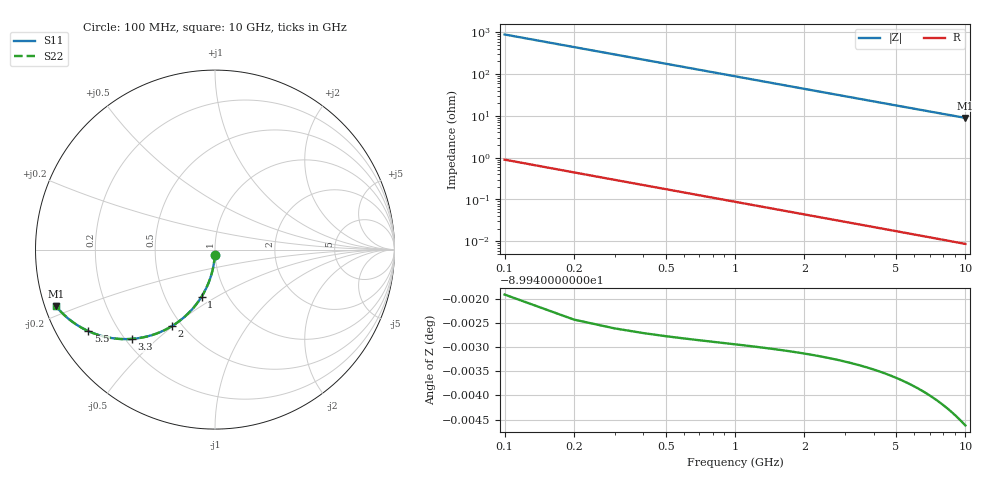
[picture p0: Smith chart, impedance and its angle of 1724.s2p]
# Hz S RI R 50.00
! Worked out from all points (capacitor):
!   100 points, 100 MHz to 10 GHz, reference 50 ohm
!   read as one part in shunt: C = 1.8 pF near 100 MHz
!   lowest |Z| = 8.94 ohm at 10 GHz (marker M1)
!   S11 on the Smith chart (normalised r, x): 100 MHz: 1.00, -0.06; 1 GHz: 0.76, -0.43; 2 GHz: 0.44, -0.50; 3.3 GHz: 0.22, -0.42; 5.5 GHz: 0.09, -0.29; 10 GHz: 0.03, -0.17
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1e8  -0.000815 -0.0282  0.9992 -0.0283  0.9992 -0.0283  -0.000815 -0.0282
2e8  -0.00323 -0.0563  0.9967 -0.0564  0.9967 -0.0564  -0.00323 -0.0563
3e8  -0.00721 -0.0841  0.9928 -0.0842  0.9928 -0.0842  -0.00721 -0.0841
4e8  -0.0127 -0.1115  0.9873 -0.1117  0.9873 -0.1117  -0.0127 -0.1115
5e8  -0.0197 -0.1384  0.9803 -0.1386  0.9803 -0.1386  -0.0197 -0.1384
6e8  -0.0281 -0.1646  0.9719 -0.1649  0.9719 -0.1649  -0.0281 -0.1646
7e8  -0.0378 -0.1901  0.9622 -0.1904  0.9622 -0.1904  -0.0378 -0.1901
8e8  -0.0488 -0.2148  0.9512 -0.2151  0.9512 -0.2151  -0.0488 -0.2148
1e9  -0.0741 -0.2613  0.9258 -0.2617  0.9258 -0.2617  -0.0741 -0.2613
1.2e9  -0.1033 -0.3036  0.8967 -0.3041  0.8967 -0.3041  -0.1033 -0.3036
1.4e9  -0.1355 -0.3415  0.8645 -0.3421  0.8645 -0.3421  -0.1355 -0.3415
1.8e9  -0.2056 -0.4033  0.7944 -0.404  0.7944 -0.404  -0.2056 -0.4033
2e9  -0.2421 -0.4274  0.7579 -0.4283  0.7579 -0.4283  -0.2421 -0.4274
2.6e9  -0.3503 -0.476  0.6497 -0.4771  0.6497 -0.4771  -0.3503 -0.476
3.3e9  -0.4644 -0.4975  0.5355 -0.4989  0.5355 -0.4989  -0.4644 -0.4975
3.4e9  -0.4793 -0.4984  0.5207 -0.4998  0.5207 -0.4998  -0.4793 -0.4984
4.2e9  -0.5838 -0.4916  0.4162 -0.4933  0.4162 -0.4933  -0.5838 -0.4916
5.1e9  -0.6737 -0.4673  0.3263 -0.4694  0.3263 -0.4694  -0.6737 -0.4673
5.5e9  -0.7059 -0.454  0.2941 -0.4563  0.2941 -0.4563  -0.7059 -0.454
6.7e9  -0.7804 -0.412  0.2195 -0.4148  0.2195 -0.4148  -0.7804 -0.412
8.4e9  -0.8479 -0.3569  0.1521 -0.3604  0.1521 -0.3604  -0.8479 -0.3569
1e10  -0.8874 -0.3134  0.1125 -0.3176  0.1125 -0.3176  -0.8874 -0.3134
